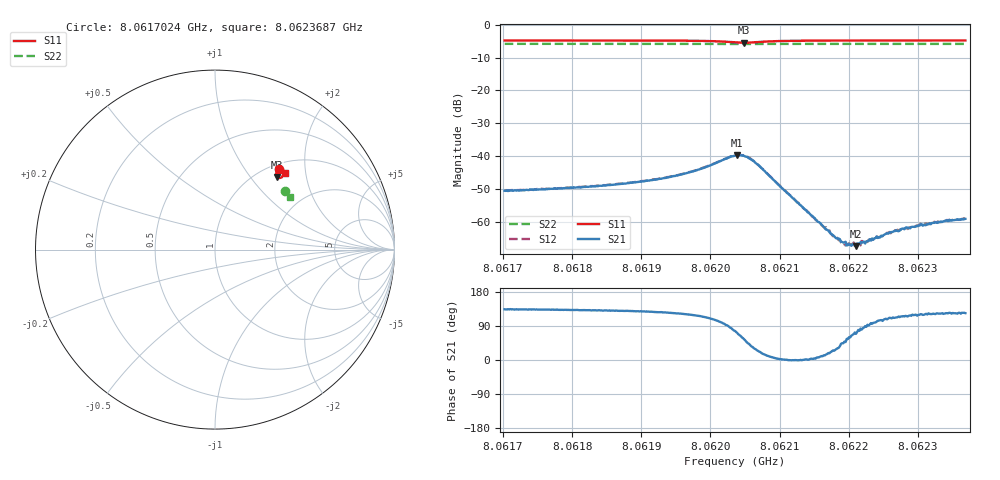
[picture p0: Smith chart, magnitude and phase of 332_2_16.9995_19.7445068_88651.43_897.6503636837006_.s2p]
#  HZ  S  RI  R  50.00
! Rohde & Schwarz Vector Network Analyzer
! Rohde-Schwarz,ZNB20-2Port,1311601062101988,3.16
! Created: UTC 3/20/2024, 11:06:57 PM
! freq[Hz]  re:S11  im:S11  re:S21  im:S21  re:S12  im:S12  re:S22  im:S22
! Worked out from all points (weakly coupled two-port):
!   401 points, 8.0617024 GHz to 8.0623687 GHz, reference 50 ohm
!   highest |S21| = -39.60 dB at 8.0620389 GHz (marker M1); lowest = -67.3 dB at 8.0622105 GHz (marker M2)
!   lowest |S11| = -5.5 dB at 8.0620489 GHz (marker M3), VSWR 3.27, Z = 60.6 + j68.4 ohm
!   |S11| at or under -10 dB: nowhere
!   |S22| runs from -5.9 to -5.8 dB; largest |S21 - S12| = 0.0008
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8.06170243e9  0.3587 0.4507  -0.00207 0.00216  -0.00193 0.00226  0.392 0.3284
8.06181404e9  0.3662 0.4441  -0.00225 0.00253  -0.0021 0.0027  0.3965 0.3228
8.06187567e9  0.3708 0.4397  -0.00245 0.00297  -0.00229 0.00318  0.3987 0.3198
8.06192565e9  0.375 0.4346  -0.00266 0.00366  -0.00247 0.00383  0.4006 0.3172
8.06197562e9  0.3793 0.4254  -0.00282 0.00521  -0.00252 0.00543  0.4024 0.3145
8.06203559e9  0.3618 0.3991  0.00234 0.00987  0.00309 0.00976  0.4033 0.3108
8.06203892e9  0.3578 0.3989  0.00338 0.00991  0.00411 0.00964  0.4031 0.3106
8.06204891e9  0.3458 0.4043  0.0059 0.00822  0.00644 0.00789  0.403 0.3106
8.06205724e9  0.3403 0.4135  0.00704 0.0059  0.00754 0.00564  0.4032 0.3106
8.06206724e9  0.3401 0.4246  0.0069 0.00332  0.00711 0.00295  0.4037 0.3106
8.06214719e9  0.3679 0.4384  0.00124 6.75e-05  0.00121 2.09e-05  0.4079 0.3072
8.06217051e9  0.3718 0.437  0.000703 0.000236  0.000729 0.000156  0.409 0.3059
8.06217884e9  0.373 0.4364  0.000557 0.000253  0.00056 0.000231  0.4092 0.3055
8.06219217e9  0.3745 0.4356  0.00035 0.00034  0.000393 0.000292  0.4097 0.3048
8.0622005e9  0.3754 0.4351  0.000227 0.000396  0.000293 0.000376  0.4101 0.3042
8.06221049e9  0.3766 0.4345  0.000155 0.000403  0.000147 0.00043  0.4104 0.3038
8.06221382e9  0.3768 0.4342  8.61e-05 0.000462  0.000145 0.000442  0.4105 0.3036
8.0622588e9  0.3809 0.4316  -0.000249 0.000637  -0.00019 0.000681  0.4123 0.3015
8.06228046e9  0.3825 0.4302  -0.000326 0.000703  -0.000308 0.000767  0.4131 0.3002
8.06230711e9  0.3845 0.4287  -0.000427 0.000769  -0.000399 0.000834  0.4139 0.2989
8.06234209e9  0.3869 0.4268  -0.000587 0.000886  -0.000525 0.000939  0.4151 0.2971
8.06236874e9  0.3887 0.4253  -0.00062 0.000931  -0.000554 0.000972  0.4161 0.2956
